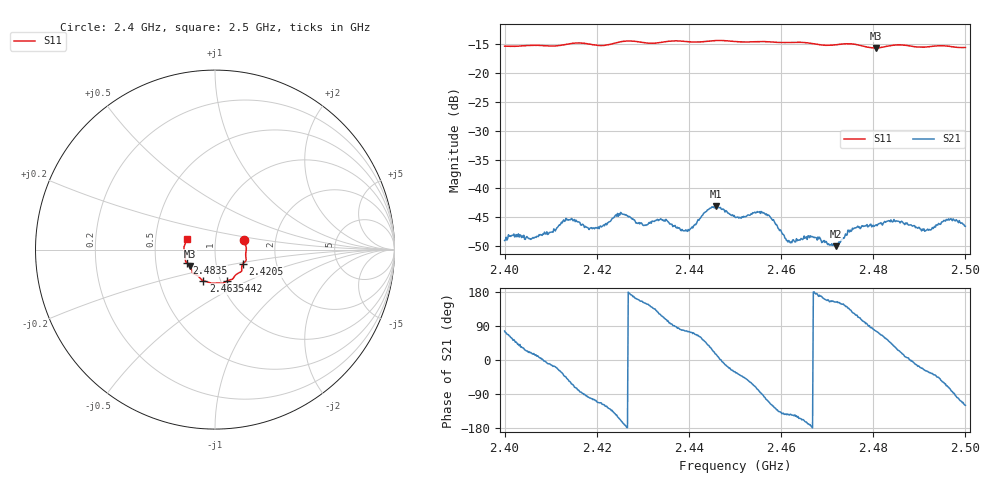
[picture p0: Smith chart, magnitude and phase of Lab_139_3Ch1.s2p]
# Hz S RI R 50
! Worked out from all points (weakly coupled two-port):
!   601 points, 2.4 GHz to 2.5 GHz, reference 50 ohm
!   highest |S21| = -43.08 dB at 2.4458 GHz (marker M1); lowest = -50.0 dB at 2.4718 GHz (marker M2)
!   lowest |S11| = -15.6 dB at 2.4807 GHz (marker M3), VSWR 1.40, Z = 37.3 - j6.99 ohm
!   |S11| at or under -10 dB: start of sweep to end of sweep
!   S12 and S22 are empty: the file has one direction only
!   S11 on the Smith chart (normalised r, x): 2.4 GHz: 1.38, +0.15; 2.4205 GHz: 1.35, -0.22; 2.442 GHz: 1.08, -0.39; 2.4635 GHz: 0.83, -0.30; 2.4835 GHz: 0.72, -0.11; 2.5 GHz: 0.72, +0.09
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2.4e9  0.1639 0.052  0.000829 0.00344  0 0  0 0
2.409833e9  0.1719 -0.0139  0.00408 -0.000771  0 0  0 0
2.413167e9  0.1721 -0.0434  0.00382 -0.00359  0 0  0 0
2.416667e9  0.172 -0.0623  0.000392 -0.00478  0 0  0 0
2.4205e9  0.1549 -0.0796  -0.00173 -0.00413  0 0  0 0
2.425e9  0.1489 -0.1133  -0.0054 -0.00232  0 0  0 0
2.4305e9  0.1277 -0.1321  -0.00419 0.0024  0 0  0 0
2.433333e9  0.1091 -0.1481  -0.00306 0.00428  0 0  0 0
2.439167e9  0.0888 -0.1668  0.00101 0.00416  0 0  0 0
2.442e9  0.0692 -0.1737  0.00226 0.00488  0 0  0 0
2.445833e9  0.0476 -0.1864  0.00676 0.00188  0 0  0 0
2.45e9  0.0265 -0.1868  0.00484 -0.00288  0 0  0 0
2.456167e9  -0.0161 -0.1877  -0.000442 -0.0061  0 0  0 0
2.4615e9  -0.0536 -0.177  -0.00278 -0.00201  0 0  0 0
2.4635e9  -0.0655 -0.1739  -0.00308 -0.00171  0 0  0 0
2.466667e9  -0.0775 -0.1641  -0.00383 -0.000226  0 0  0 0
2.471833e9  -0.1103 -0.1381  -0.00281 0.00143  0 0  0 0
2.476e9  -0.1261 -0.1261  -0.00238 0.00389  0 0  0 0
2.480667e9  -0.1385 -0.0912  0.00118 0.00469  0 0  0 0
2.483333e9  -0.1556 -0.0749  0.00338 0.00402  0 0  0 0
2.4835e9  -0.1565 -0.0743  0.00349 0.00391  0 0  0 0
2.5e9  -0.1568 0.059  -0.00232 -0.00408  0 0  0 0
